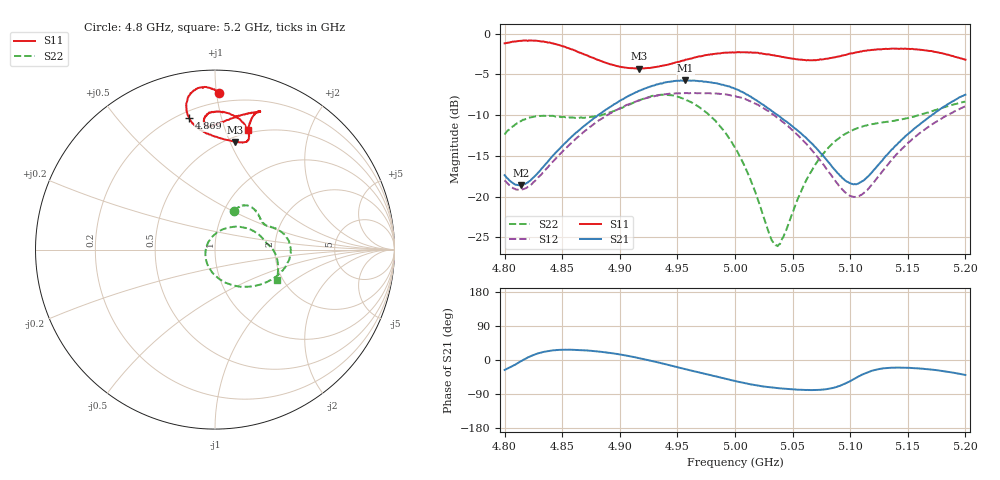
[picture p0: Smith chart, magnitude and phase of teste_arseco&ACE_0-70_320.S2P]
! Network Analyzer HP8722D
! Hewlett-Packard
! Data name: Linha & Wilkinson
! Saver's name: Rodrigo Anjos
! Comments: Teste da utilização de aquisição
! continua pelo VNA HP8722D
! Time and date: 8/5/2025 15:25
!  Frequency  S11  S21  S12  S22
# HZ  S  MA R 50
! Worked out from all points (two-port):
!   401 points, 4.8 GHz to 5.2 GHz, reference 50 ohm
!   highest |S21| = -5.72 dB at 4.957 GHz (marker M1); lowest = -18.6 dB at 4.814 GHz (marker M2)
!   |S21| within 3 dB of the highest: 4.895 GHz to 5.024 GHz (129.7 MHz wide, 2.62 % of centre); 5.184 GHz to end of sweep
!   lowest |S11| = -4.3 dB at 4.917 GHz (marker M3), VSWR 4.13, Z = 27.4 + j52.3 ohm
!   |S11| at or under -10 dB: nowhere
!   |S22| runs from -26.1 to -7.5 dB; largest |S21 - S12| = 0.89
!   S11 on the Smith chart (normalised r, x): 4.8 GHz: 0.14, +1.02; 4.869 GHz: 0.24, +0.79; 5.2 GHz: 0.47, +1.20
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4.8e9  0.8719 88.4  0.1354 -26.2  0.1259 101.2  0.2404 63.5
4.814e9  0.9035 92.5  0.1172 -3.4  0.11 121.1  0.2897 58.0
4.844e9  0.8637 99.8  0.1851 25.8  0.17 149.9  0.3099 39.8
4.867e9  0.7566 101.3  0.2638 25.9  0.2434 153.1  0.3058 30.2
4.869e9  0.7458 101.2  0.2713 25.5  0.2506 153.0  0.3046 29.4
4.896e9  0.6364 91.7  0.3712 16.6  0.3369 147.1  0.3378 22.0
4.917e9  0.6103 79.3  0.4467 4.7  0.3891 138.3  0.3903 13.3
4.934e9  0.6279 73.6  0.4916 -6.9  0.4198 128.7  0.4205 2.1
4.957e9  0.6923 74.9  0.5178 -24.2  0.4317 114.3  0.3955 -17.1
4.981e9  0.7503 81.1  0.4987 -41.7  0.4291 99.2  0.3008 -42.2
5e9  0.7682 87.5  0.4599 -55.4  0.4142 85.7  0.1996 -70.0
5.018e9  0.7643 92.3  0.392 -66.5  0.3714 73.3  0.1051 -109.1
5.03e9  0.7453 94.2  0.3437 -71.9  0.3299 66.6  0.05874 -156.5
5.036e9  0.7303 94.8  0.3204 -74.0  0.3078 63.9  0.05042 166.2
5.041e9  0.7193 95.1  0.3006 -75.3  0.2888 62.1  0.05536 135.0
5.067e9  0.687 92.7  0.2112 -79.4  0.1918 57.9  0.1458 57.6
5.083e9  0.7086 87.5  0.1569 -75.2  0.1372 63.5  0.2059 36.4
5.102e9  0.7572 79.6  0.1196 -52.4  0.1001 89.8  0.2555 19.8
5.113e9  0.7841 75.7  0.1282 -35.0  0.1072 109.1  0.2722 13.7
5.134e9  0.8078 72.1  0.1871 -20.5  0.1615 125.8  0.2897 7.1
5.17e9  0.7831 73.8  0.3121 -25.3  0.2745 120.1  0.3326 -2.9
5.2e9  0.6925 74.6  0.422 -39.6  0.3586 108.4  0.3831 -26.3
